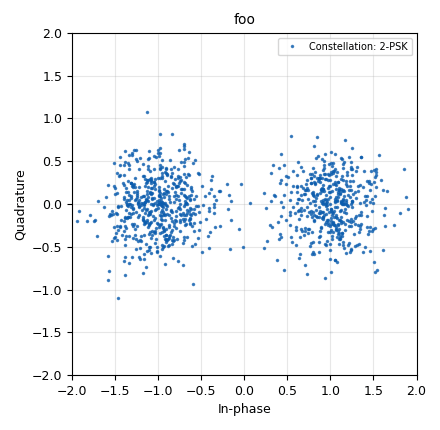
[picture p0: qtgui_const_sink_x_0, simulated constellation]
<?xml version='1.0' encoding='utf-8'?>
<?grc format='1' created='3.7.11'?>
<flow_graph>
<block>
<key>options</key>
<param><key>id</key><value>top_block</value></param>
<param><key>generate_options</key><value>qt_gui</value></param>
</block>
<block>
<key>variable_qtgui_range</key>
<param><key>id</key><value>EbN0</value></param>
<param><key>value</key><value>7</value></param>
<param><key>label</key><value>Eb / N0 (dB)</value></param>
<param><key>orient</key><value>Qt.Horizontal</value></param>
<param><key>start</key><value>-10</value></param>
<param><key>step</key><value>0.1</value></param>
<param><key>stop</key><value>20</value></param>
</block>
<block>
<key>variable</key>
<param><key>id</key><value>const</value></param>
<param><key>value</key><value>(digital.constellation_bpsk(), digital.constellation_qpsk(), digital.constellation_8psk())</value></param>
</block>
<block>
<key>variable</key>
<param><key>id</key><value>const_type</value></param>
<param><key>value</key><value>0</value></param>
</block>
<block>
<key>variable</key>
<param><key>id</key><value>samp_rate</value></param>
<param><key>value</key><value>32000</value></param>
</block>
<block>
<key>variable</key>
<param><key>id</key><value>samp_rate_0</value></param>
<param><key>value</key><value>100e3</value></param>
</block>
<block>
<key>variable_qtgui_label</key>
<param><key>id</key><value>variable_qtgui_label_0</value></param>
<param><key>value</key><value>{0: 'BPSK', 1: 'QPSK', 2: '8-PSK'}[const_type] + " - Change const_type for different constellation types!"</value></param>
<param><key>label</key><value>Constellation Type</value></param>
<param><key>type</key><value>string</value></param>
</block>
<block>
<key>ITpp_BCH_Decoder</key>
<param><key>id</key><value>ITpp_BCH_Decoder_0</value></param>
<param><key>n</key><value>63</value></param>
<param><key>t</key><value>6</value></param>
</block>
<block>
<key>ITpp_BCH_Encoder</key>
<param><key>id</key><value>ITpp_BCH_Encoder_0</value></param>
<param><key>n</key><value>63</value></param>
<param><key>t</key><value>6</value></param>
</block>
<block>
<key>analog_noise_source_x</key>
<param><key>id</key><value>analog_noise_source_x</value></param>
<param><key>amp</key><value>1.0 / math.sqrt(const[const_type].bits_per_symbol() * 10**(float(EbN0-10*math.log10(63/30))/10))</value></param>
<param><key>comment</key><value>Subtrair -3.31 (-10log10(15/7)) se for usando o código.
Ou (-10log10(63/30)) para (BCH(63, 30, 6))</value></param>
<param><key>noise_type</key><value>analog.GR_GAUSSIAN</value></param>
<param><key>type</key><value>complex</value></param>
<param><key>seed</key><value>84</value></param>
</block>
<block>
<key>analog_noise_source_x</key>
<param><key>id</key><value>analog_noise_source_x_0</value></param>
<param><key>amp</key><value>1.0 / math.sqrt(const[const_type].bits_per_symbol() * 10**(float(EbN0)/10))</value></param>
<param><key>noise_type</key><value>analog.GR_GAUSSIAN</value></param>
<param><key>type</key><value>complex</value></param>
<param><key>seed</key><value>84</value></param>
</block>
<block>
<key>analog_random_source_x</key>
<param><key>id</key><value>analog_random_source_x</value></param>
<param><key>max</key><value>const[const_type].arity()</value></param>
<param><key>min</key><value>0</value></param>
<param><key>num_samps</key><value>10000000</value></param>
<param><key>type</key><value>byte</value></param>
<param><key>repeat</key><value>True</value></param>
</block>
<block>
<key>blks2_error_rate</key>
<param><key>id</key><value>blks2_error_rate</value></param>
<param><key>bits_per_symbol</key><value>const[const_type].bits_per_symbol()</value></param>
<param><key>type</key><value>'BER'</value></param>
<param><key>win_size</key><value>int(1e7)</value></param>
</block>
<block>
<key>blks2_error_rate</key>
<param><key>id</key><value>blks2_error_rate_0</value></param>
<param><key>bits_per_symbol</key><value>const[const_type].bits_per_symbol()</value></param>
<param><key>type</key><value>'BER'</value></param>
<param><key>win_size</key><value>int(1e7)</value></param>
</block>
<block>
<key>blocks_add_xx</key>
<param><key>id</key><value>blocks_add_xx</value></param>
<param><key>type</key><value>complex</value></param>
</block>
<block>
<key>blocks_add_xx</key>
<param><key>id</key><value>blocks_add_xx_0</value></param>
<param><key>type</key><value>complex</value></param>
</block>
<block>
<key>blocks_throttle</key>
<param><key>id</key><value>blocks_throttle</value></param>
<param><key>samples_per_second</key><value>samp_rate*10</value></param>
<param><key>type</key><value>byte</value></param>
</block>
<block>
<key>digital_chunks_to_symbols_xx</key>
<param><key>id</key><value>digital_chunks_to_symbols_xx</value></param>
<param><key>dimension</key><value>1</value></param>
<param><key>in_type</key><value>byte</value></param>
<param><key>out_type</key><value>complex</value></param>
<param><key>symbol_table</key><value>const[const_type].points()</value></param>
</block>
<block>
<key>digital_chunks_to_symbols_xx</key>
<param><key>id</key><value>digital_chunks_to_symbols_xx_0</value></param>
<param><key>dimension</key><value>1</value></param>
<param><key>in_type</key><value>byte</value></param>
<param><key>out_type</key><value>complex</value></param>
<param><key>symbol_table</key><value>const[const_type].points()</value></param>
</block>
<block>
<key>digital_constellation_decoder_cb</key>
<param><key>id</key><value>digital_constellation_decoder_cb_0</value></param>
<param><key>constellation</key><value>const[const_type].base()</value></param>
</block>
<block>
<key>digital_constellation_decoder_cb</key>
<param><key>id</key><value>digital_constellation_decoder_cb_0_0</value></param>
<param><key>constellation</key><value>const[const_type].base()</value></param>
</block>
<block>
<key>digital_diff_decoder_bb</key>
<param><key>id</key><value>digital_diff_decoder_bb_0</value></param>
<param><key>_enabled</key><value>2</value></param>
<param><key>modulus</key><value>2</value></param>
</block>
<block>
<key>digital_diff_decoder_bb</key>
<param><key>id</key><value>digital_diff_decoder_bb_0_0</value></param>
<param><key>_enabled</key><value>2</value></param>
<param><key>modulus</key><value>2</value></param>
</block>
<block>
<key>digital_diff_encoder_bb</key>
<param><key>id</key><value>digital_diff_encoder_bb_0</value></param>
<param><key>_enabled</key><value>2</value></param>
<param><key>modulus</key><value>2</value></param>
</block>
<block>
<key>digital_diff_encoder_bb</key>
<param><key>id</key><value>digital_diff_encoder_bb_0_0</value></param>
<param><key>_enabled</key><value>2</value></param>
<param><key>modulus</key><value>2</value></param>
</block>
<block>
<key>import</key>
<param><key>id</key><value>import</value></param>
<param><key>import</key><value>import math</value></param>
</block>
<block>
<key>import</key>
<param><key>id</key><value>import_0</value></param>
<param><key>import</key><value>import math</value></param>
</block>
<block>
<key>qtgui_const_sink_x</key>
<param><key>id</key><value>qtgui_const_sink_x_0</value></param>
<param><key>gui_hint</key><value>2,0,1,1</value></param>
<param><key>alpha1</key><value>0.6</value></param>
<param><key>label1</key><value>"Constellation: "+str(const[const_type].arity()) + "-PSK"</value></param>
<param><key>name</key><value>"foo"</value></param>
<param><key>size</key><value>1024</value></param>
<param><key>type</key><value>complex</value></param>
</block>
<block>
<key>qtgui_number_sink</key>
<param><key>id</key><value>qtgui_number_sink_0</value></param>
<param><key>gui_hint</key><value>1, 0, 1, 1</value></param>
<param><key>graph_type</key><value>qtgui.NUM_GRAPH_HORIZ</value></param>
<param><key>type</key><value>float</value></param>
<param><key>factor1</key><value>1e6</value></param>
<param><key>label1</key><value>BER (SEM BCH (15, 7, 2))</value></param>
<param><key>unit1</key><value>x10^-6</value></param>
<param><key>max</key><value>1000</value></param>
<param><key>min</key><value>0</value></param>
</block>
<block>
<key>qtgui_number_sink</key>
<param><key>id</key><value>qtgui_number_sink_0_0</value></param>
<param><key>gui_hint</key><value>0, 0, 1, 1</value></param>
<param><key>graph_type</key><value>qtgui.NUM_GRAPH_HORIZ</value></param>
<param><key>type</key><value>float</value></param>
<param><key>factor1</key><value>1e6</value></param>
<param><key>label1</key><value>BER (Com BCH (15, 7, 2))</value></param>
<param><key>unit1</key><value>x10^-6</value></param>
<param><key>max</key><value>1000</value></param>
<param><key>min</key><value>0</value></param>
</block>
<connection><source_block_id>ITpp_BCH_Decoder_0</source_block_id><sink_block_id>blks2_error_rate_0</sink_block_id><source_key>0</source_key><sink_key>0</sink_key></connection>
<connection><source_block_id>ITpp_BCH_Encoder_0</source_block_id><sink_block_id>digital_diff_encoder_bb_0</sink_block_id><source_key>0</source_key><sink_key>0</sink_key></connection>
<connection><source_block_id>analog_noise_source_x</source_block_id><sink_block_id>blocks_add_xx_0</sink_block_id><source_key>0</source_key><sink_key>1</sink_key></connection>
<connection><source_block_id>analog_noise_source_x_0</source_block_id><sink_block_id>blocks_add_xx</sink_block_id><source_key>0</source_key><sink_key>1</sink_key></connection>
<connection><source_block_id>analog_random_source_x</source_block_id><sink_block_id>blocks_throttle</sink_block_id><source_key>0</source_key><sink_key>0</sink_key></connection>
<connection><source_block_id>blks2_error_rate</source_block_id><sink_block_id>qtgui_number_sink_0</sink_block_id><source_key>0</source_key><sink_key>0</sink_key></connection>
<connection><source_block_id>blks2_error_rate_0</source_block_id><sink_block_id>qtgui_number_sink_0_0</sink_block_id><source_key>0</source_key><sink_key>0</sink_key></connection>
<connection><source_block_id>blocks_add_xx</source_block_id><sink_block_id>digital_constellation_decoder_cb_0</sink_block_id><source_key>0</source_key><sink_key>0</sink_key></connection>
<connection><source_block_id>blocks_add_xx</source_block_id><sink_block_id>qtgui_const_sink_x_0</sink_block_id><source_key>0</source_key><sink_key>0</sink_key></connection>
<connection><source_block_id>blocks_add_xx_0</source_block_id><sink_block_id>digital_constellation_decoder_cb_0_0</sink_block_id><source_key>0</source_key><sink_key>0</sink_key></connection>
<connection><source_block_id>blocks_throttle</source_block_id><sink_block_id>ITpp_BCH_Encoder_0</sink_block_id><source_key>0</source_key><sink_key>0</sink_key></connection>
<connection><source_block_id>blocks_throttle</source_block_id><sink_block_id>blks2_error_rate</sink_block_id><source_key>0</source_key><sink_key>1</sink_key></connection>
<connection><source_block_id>blocks_throttle</source_block_id><sink_block_id>blks2_error_rate_0</sink_block_id><source_key>0</source_key><sink_key>1</sink_key></connection>
<connection><source_block_id>blocks_throttle</source_block_id><sink_block_id>digital_diff_encoder_bb_0_0</sink_block_id><source_key>0</source_key><sink_key>0</sink_key></connection>
<connection><source_block_id>digital_chunks_to_symbols_xx</source_block_id><sink_block_id>blocks_add_xx</sink_block_id><source_key>0</source_key><sink_key>0</sink_key></connection>
<connection><source_block_id>digital_chunks_to_symbols_xx_0</source_block_id><sink_block_id>blocks_add_xx_0</sink_block_id><source_key>0</source_key><sink_key>0</sink_key></connection>
<connection><source_block_id>digital_constellation_decoder_cb_0</source_block_id><sink_block_id>digital_diff_decoder_bb_0_0</sink_block_id><source_key>0</source_key><sink_key>0</sink_key></connection>
<connection><source_block_id>digital_constellation_decoder_cb_0_0</source_block_id><sink_block_id>digital_diff_decoder_bb_0</sink_block_id><source_key>0</source_key><sink_key>0</sink_key></connection>
<connection><source_block_id>digital_diff_decoder_bb_0</source_block_id><sink_block_id>ITpp_BCH_Decoder_0</sink_block_id><source_key>0</source_key><sink_key>0</sink_key></connection>
<connection><source_block_id>digital_diff_decoder_bb_0_0</source_block_id><sink_block_id>blks2_error_rate</sink_block_id><source_key>0</source_key><sink_key>0</sink_key></connection>
<connection><source_block_id>digital_diff_encoder_bb_0</source_block_id><sink_block_id>digital_chunks_to_symbols_xx_0</sink_block_id><source_key>0</source_key><sink_key>0</sink_key></connection>
<connection><source_block_id>digital_diff_encoder_bb_0_0</source_block_id><sink_block_id>digital_chunks_to_symbols_xx</sink_block_id><source_key>0</source_key><sink_key>0</sink_key></connection>
</flow_graph>
